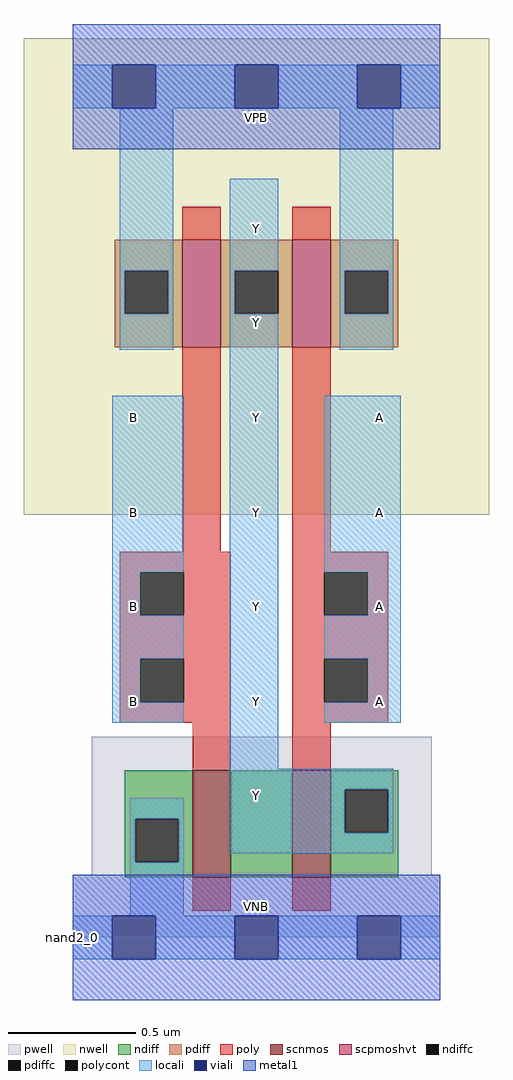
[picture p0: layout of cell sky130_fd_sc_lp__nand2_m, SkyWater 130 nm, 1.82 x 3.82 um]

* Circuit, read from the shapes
.subckt sky130_fd_sc_lp__nand2_m A B VGND VNB VPB VPWR Y
XM1 n1 B VGND VNB sky130_fd_pr__nfet_01v8 w=0.42 l=0.15
XM2 Y A n1 VNB sky130_fd_pr__nfet_01v8 w=0.42 l=0.15
XM3 Y B VPWR VPB sky130_fd_pr__pfet_01v8_hvt w=0.42 l=0.15
XM4 VPWR A Y VPB sky130_fd_pr__pfet_01v8_hvt w=0.42 l=0.15
.ends

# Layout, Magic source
magic
tech sky130A
magscale 1 2
<< nwell >>
rect -38 331 326 704
<< pwell >>
rect 15 49 281 157
rect 0 0 288 49
<< scnmos >>
rect 94 47 124 131
rect 172 47 202 131
<< scpmoshvt >>
rect 86 462 116 546
rect 172 462 202 546
<< ndiff >>
rect 41 93 94 131
rect 41 59 49 93
rect 83 59 94 93
rect 41 47 94 59
rect 124 47 172 131
rect 202 116 255 131
rect 202 82 213 116
rect 247 82 255 116
rect 202 47 255 82
<< pdiff >>
rect 33 522 86 546
rect 33 488 41 522
rect 75 488 86 522
rect 33 462 86 488
rect 116 522 172 546
rect 116 488 127 522
rect 161 488 172 522
rect 116 462 172 488
rect 202 522 255 546
rect 202 488 213 522
rect 247 488 255 522
rect 202 462 255 488
<< ndiffc >>
rect 49 59 83 93
rect 213 82 247 116
<< pdiffc >>
rect 41 488 75 522
rect 127 488 161 522
rect 213 488 247 522
<< poly >>
rect 86 546 116 572
rect 172 546 202 572
rect 86 302 116 462
rect 172 302 202 462
rect 37 286 124 302
rect 37 252 53 286
rect 87 252 124 286
rect 37 218 124 252
rect 37 184 53 218
rect 87 184 124 218
rect 37 168 124 184
rect 94 131 124 168
rect 172 286 247 302
rect 172 252 197 286
rect 231 252 247 286
rect 172 218 247 252
rect 172 184 197 218
rect 231 184 247 218
rect 172 168 247 184
rect 172 131 202 168
rect 94 21 124 47
rect 172 21 202 47
<< polycont >>
rect 53 252 87 286
rect 53 184 87 218
rect 197 252 231 286
rect 197 184 231 218
<< locali >>
rect 0 649 31 683
rect 65 649 127 683
rect 161 649 223 683
rect 257 649 288 683
rect 37 522 79 649
rect 37 488 41 522
rect 75 488 79 522
rect 37 460 79 488
rect 123 522 161 594
rect 123 488 127 522
rect 31 286 87 424
rect 31 252 53 286
rect 31 218 87 252
rect 31 184 53 218
rect 31 168 87 184
rect 123 132 161 488
rect 209 522 251 649
rect 209 488 213 522
rect 247 488 251 522
rect 209 460 251 488
rect 197 286 257 424
rect 231 252 257 286
rect 197 218 257 252
rect 231 184 257 218
rect 197 168 257 184
rect 123 116 251 132
rect 45 93 87 109
rect 45 59 49 93
rect 83 59 87 93
rect 123 82 213 116
rect 247 82 251 116
rect 123 66 251 82
rect 45 17 87 59
rect 0 -17 31 17
rect 65 -17 127 17
rect 161 -17 223 17
rect 257 -17 288 17
<< viali >>
rect 31 649 65 683
rect 127 649 161 683
rect 223 649 257 683
rect 31 -17 65 17
rect 127 -17 161 17
rect 223 -17 257 17
<< metal1 >>
rect 0 683 288 715
rect 0 649 31 683
rect 65 649 127 683
rect 161 649 223 683
rect 257 649 288 683
rect 0 617 288 649
rect 0 17 288 49
rect 0 -17 31 17
rect 65 -17 127 17
rect 161 -17 223 17
rect 257 -17 288 17
rect 0 -49 288 -17
<< labels >>
flabel pwell s 0 0 288 49 0 FreeSans 200 0 0 0 VNB
port 4 nsew ground bidirectional
flabel nwell s 0 617 288 666 0 FreeSans 200 0 0 0 VPB
port 5 nsew power bidirectional
rlabel comment s 0 0 0 0 4 nand2_0
flabel metal1 s 0 617 288 666 0 FreeSans 340 0 0 0 VPWR
port 6 nsew power bidirectional
flabel metal1 s 0 0 288 49 0 FreeSans 340 0 0 0 VGND
port 3 nsew ground bidirectional
flabel locali s 223 168 257 202 0 FreeSans 340 0 0 0 A
port 1 nsew signal input
flabel locali s 223 242 257 276 0 FreeSans 340 0 0 0 A
port 1 nsew signal input
flabel locali s 223 316 257 350 0 FreeSans 340 0 0 0 A
port 1 nsew signal input
flabel locali s 223 390 257 424 0 FreeSans 340 0 0 0 A
port 1 nsew signal input
flabel locali s 127 94 161 128 0 FreeSans 340 0 0 0 Y
port 7 nsew signal output
flabel locali s 127 168 161 202 0 FreeSans 340 0 0 0 Y
port 7 nsew signal output
flabel locali s 127 242 161 276 0 FreeSans 340 0 0 0 Y
port 7 nsew signal output
flabel locali s 127 316 161 350 0 FreeSans 340 0 0 0 Y
port 7 nsew signal output
flabel locali s 127 390 161 424 0 FreeSans 340 0 0 0 Y
port 7 nsew signal output
flabel locali s 127 464 161 498 0 FreeSans 340 0 0 0 Y
port 7 nsew signal output
flabel locali s 127 538 161 572 0 FreeSans 340 0 0 0 Y
port 7 nsew signal output
flabel locali s 31 168 65 202 0 FreeSans 340 0 0 0 B
port 2 nsew signal input
flabel locali s 31 242 65 276 0 FreeSans 340 0 0 0 B
port 2 nsew signal input
flabel locali s 31 316 65 350 0 FreeSans 340 0 0 0 B
port 2 nsew signal input
flabel locali s 31 390 65 424 0 FreeSans 340 0 0 0 B
port 2 nsew signal input
<< properties >>
string LEFsite unit
string LEFclass CORE
string FIXED_BBOX 0 0 288 666
string GDS_FILE $PDKPATH/libs.ref/sky130_fd_sc_lp/gds/sky130_fd_sc_lp.gds
string LEFsymmetry X Y R90
string GDS_END 5620706
string GDS_START 5615890
<< end >>
